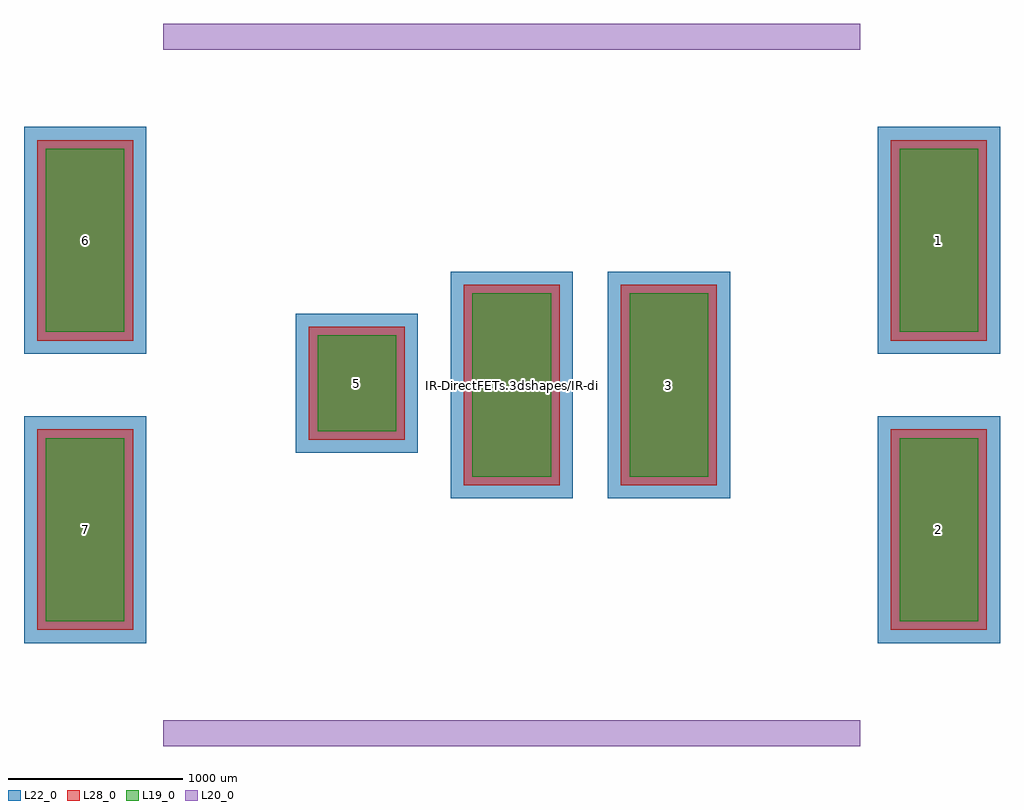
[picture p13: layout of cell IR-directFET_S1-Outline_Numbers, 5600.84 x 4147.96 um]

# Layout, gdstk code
import gdstk
lib = gdstk.Library(unit=1e-6, precision=1e-09)
def R(c, l, rs):  # rectangles x0, y0, x1, y1
    for r in rs: c.add(gdstk.rectangle(r[:2], r[2:], *l))
L19_0 = (19, 0)
L20_0 = (20, 0)
L22_0 = (22, 0)
L28_0 = (28, 0)

ir_directfet_s1_outline_ = lib.new_cell('IR-directFET_S1-Outline_Numbers')
R(ir_directfet_s1_outline_, L19_0, [(-2674.15,-1355.89,-2222.97,-305.27), (2225.51,-1355.89,2676.69,-305.27), (-225.59,-525.31,225.59,525.31), (676.11,-525.31,1127.29,525.31), (-1114.59,-264.96,-663.41,285.28), (-2674.15,305.27,-2222.97,1355.89), (2225.51,305.27,2676.69,1355.89)])
R(ir_directfet_s1_outline_, L22_0, [(-2799.15,-1480.89,-2097.97,-180.27), (2100.51,-1480.89,2801.69,-180.27), (-350.59,-650.31,350.59,650.31), (551.11,-650.31,1252.29,650.31), (-1239.59,-389.96,-538.41,410.28), (-2799.15,180.27,-2097.97,1480.89), (2100.51,180.27,2801.69,1480.89)])
R(ir_directfet_s1_outline_, L28_0, [(-2724.15,-1405.89,-2172.97,-255.27), (2175.51,-1405.89,2726.69,-255.27), (-275.59,-575.31,275.59,575.31), (626.11,-575.31,1177.29,575.31), (-1164.59,-314.96,-613.41,335.28), (-2724.15,255.27,-2172.97,1405.89), (2175.51,255.27,2726.69,1405.89)])
ir_directfet_s1_outline_.add(gdstk.FlexPath([(-1998.98,1998.98),(1998.98,1998.98)], 149.998, ends="flush", simple_path=True, layer=20, datatype=0))  # L20_0
ir_directfet_s1_outline_.add(gdstk.FlexPath([(1998.98,-1998.98),(-1998.98,-1998.98)], 149.998, ends="flush", simple_path=True, layer=20, datatype=0))  # L20_0
ir_directfet_s1_outline_.add(gdstk.Label('IR-DirectFETs.3dshapes/IR-directFET_S1-Outline_Numbers.wrl', (0,0), layer=12, texttype=0))
ir_directfet_s1_outline_.add(gdstk.Label('2', (2451.1,-830.58), layer=28, texttype=0))
ir_directfet_s1_outline_.add(gdstk.Label('1', (2451.1,830.58), layer=28, texttype=0))
ir_directfet_s1_outline_.add(gdstk.Label('7', (-2448.56,-830.58), layer=28, texttype=0))
ir_directfet_s1_outline_.add(gdstk.Label('6', (-2448.56,830.58), layer=28, texttype=0))
ir_directfet_s1_outline_.add(gdstk.Label('3', (901.7,0), layer=28, texttype=0))
ir_directfet_s1_outline_.add(gdstk.Label('4', (0,0), layer=28, texttype=0))
ir_directfet_s1_outline_.add(gdstk.Label('5', (-889,10.16), layer=28, texttype=0))
ir_directfet_s1_outline_.add(gdstk.Label('type', (0,-4826), layer=9, texttype=0))
ir_directfet_s1_outline_.add(gdstk.Label('devicename', (0,4000.5), layer=9, texttype=0))

lib.write_gds('IR-directFET_S1-Outline_Numbers.gds')
